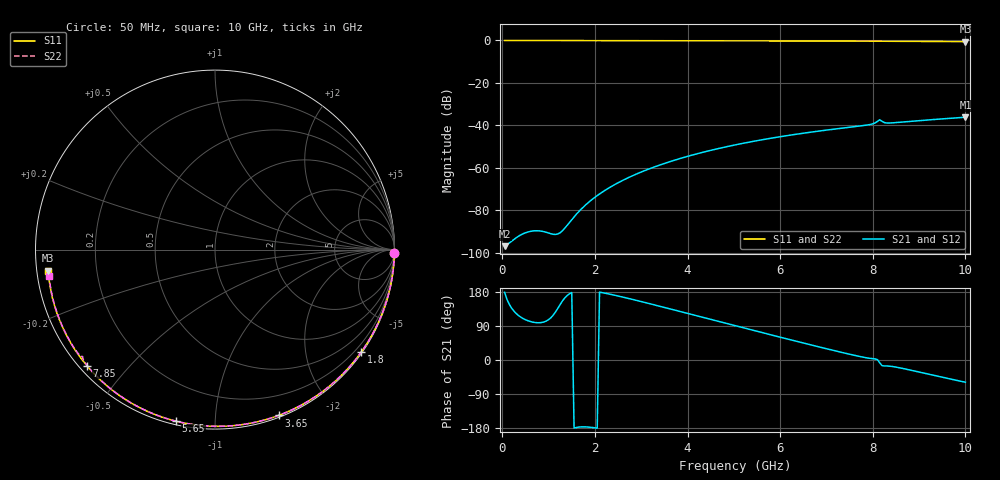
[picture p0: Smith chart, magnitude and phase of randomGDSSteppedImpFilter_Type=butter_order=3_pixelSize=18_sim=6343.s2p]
! freq	dB(S11)	phase(S11)	dB(S12)	phase(S12)
!  dB(S21)	phase(S21)	dB(S22)	phase(S22)
!S-par simulation data
#  GHz  S  DB  R 50
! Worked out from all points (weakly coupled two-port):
!   200 points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, 50 MHz to 10 GHz, reference 50 ohm
!   highest |S21| = -36.13 dB at 10 GHz (marker M1); lowest = -96.8 dB at 50 MHz (marker M2)
!   lowest |S11| = -0.6 dB at 10 GHz (marker M3), VSWR 30.73, Z = 1.63 - j3.14 ohm
!   |S11| at or under -10 dB: nowhere
!   |S22| runs from -0.6 to 0.0 dB; largest |S21 - S12| = 0
!   S11 on the Smith chart (normalised r, x): 50 MHz: open; 1.8 GHz: 0.03, -3.17; 3.65 GHz: 0.02, -1.45; 5.65 GHz: 0.02, -0.80; 7.85 GHz: 0.02, -0.39; 10 GHz: 0.03, -0.06
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0.05  -0.00 -1.0  -96.80 178.7  -96.80 178.7  -0.00 -1.0
0.85  -0.02 -16.7  -89.75 98.9  -89.75 98.9  -0.02 -16.5
1.65  -0.04 -32.2  -80.57 -177.1  -80.57 -177.1  -0.04 -31.8
1.7  -0.04 -33.2  -79.45 -176.5  -79.45 -176.5  -0.04 -32.7
1.75  -0.04 -34.1  -78.39 -176.4  -78.39 -176.4  -0.04 -33.7
1.8  -0.04 -35.1  -77.38 -176.5  -77.38 -176.5  -0.04 -34.6
2.1  -0.05 -40.7  -72.22 179.0  -72.22 179.0  -0.05 -40.2
2.45  -0.06 -47.3  -67.55 170.3  -67.55 170.3  -0.06 -46.7
2.9  -0.07 -55.6  -62.81 157.2  -62.81 157.2  -0.07 -54.9
3.4  -0.09 -64.6  -58.62 141.8  -58.62 141.8  -0.08 -63.8
3.65  -0.09 -69.0  -56.81 134.0  -56.81 134.0  -0.09 -68.2
4.35  -0.12 -81.2  -52.51 111.9  -52.51 111.9  -0.11 -80.3
5.05  -0.14 -93.0  -49.05 89.8  -49.05 89.8  -0.14 -92.0
5.65  -0.17 -102.9  -46.57 71.0  -46.57 71.0  -0.17 -101.7
6.7  -0.23 -119.7  -43.04 38.7  -43.04 38.7  -0.23 -118.4
7.85  -0.32 -137.8  -39.89 6.1  -39.89 6.1  -0.33 -136.5
8.05  -0.34 -141.0  -38.83 2.8  -38.83 2.8  -0.37 -139.8
8.15  -0.35 -142.5  -37.33 -7.3  -37.33 -7.3  -0.46 -141.0
8.25  -0.36 -144.2  -38.65 -15.8  -38.65 -15.8  -0.38 -142.3
8.35  -0.37 -145.8  -38.84 -16.1  -38.84 -16.1  -0.37 -144.0
9.2  -0.46 -159.4  -37.40 -37.3  -37.40 -37.3  -0.46 -157.8
10  -0.57 -172.8  -36.13 -58.6  -36.13 -58.6  -0.57 -171.1
